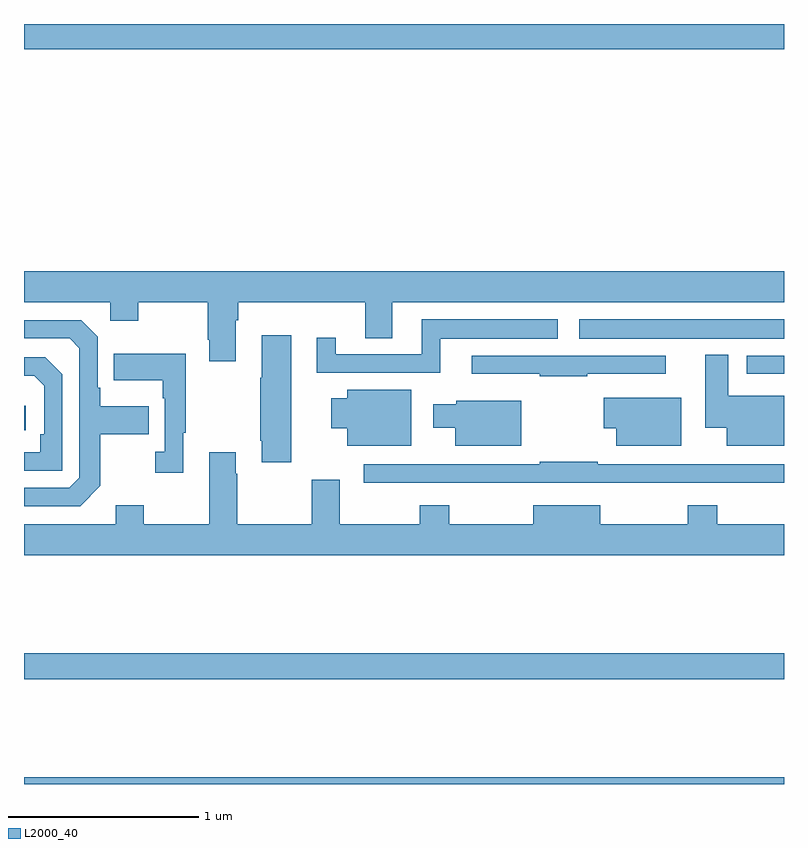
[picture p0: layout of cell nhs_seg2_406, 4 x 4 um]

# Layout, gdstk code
import gdstk
lib = gdstk.Library(unit=1e-6, precision=1e-09)
def R(c, l, rs):  # rectangles x0, y0, x1, y1
    for r in rs: c.add(gdstk.rectangle(r[:2], r[2:], *l))
def P(c, l, *ps):  # polygons
    for p in ps: c.add(gdstk.Polygon(p, *l))
L2000_40 = (2000, 40)

nhs_seg2_406 = lib.new_cell('nhs_seg2_406')
R(nhs_seg2_406, L2000_40, [(131,611.8,135,611.836), (131,612.352,135,612.488), (131,613.662,131.008,613.792), (134.805,613.959,135,614.055), (133.923,614.144,135,614.245), (131,615.668,135,615.8)])
P(nhs_seg2_406, L2000_40, [(132.115,614.24),(132.128,614.24),(132.128,614.336),(132.797,614.336),(132.797,614.146),(132.937,614.146),(132.937,614.336),(135,614.336),(135,614.5),(131,614.5),(131,614.336),(131.454,614.336),(131.454,614.237),(131.601,614.237),(131.601,614.336),(131.968,614.336),(131.968,614.137),(131.975,614.137),(131.975,614.025),(132.115,614.025)],
  [(133.192,614.144),(133.81,614.144),(133.81,614.245),(133.094,614.245),(133.094,614.061),(132.64,614.061),(132.64,614.149),(132.542,614.149),(132.542,613.965),(133.192,613.965)],
  [(131.401,613.369),(131.401,613.642),(131.657,613.642),(131.657,613.789),(131.401,613.789),(131.401,613.885),(131.388,613.885),(131.388,614.154),(131.301,614.241),(131,614.241),(131,614.145),(131.241,614.145),(131.292,614.094),(131.292,613.413),(131.238,613.359),(131,613.359),(131,613.263),(131.295,613.263)],
  [(132.406,614.161),(132.251,614.161),(132.251,613.937),(132.244,613.937),(132.244,613.606),(132.251,613.606),(132.251,613.494),(132.406,613.494)],
  [(131.839,613.649),(131.851,613.649),(131.851,614.065),(131.473,614.065),(131.473,613.925),(131.73,613.925),(131.73,613.829),(131.742,613.829),(131.742,613.55),(131.691,613.55),(131.691,613.437),(131.839,613.437)],
  [(135,613.843),(134.707,613.843),(134.707,614.059),(134.585,614.059),(134.585,613.676),(134.699,613.676),(134.699,613.58),(135,613.58)],
  [(133.964,613.959),(134.377,613.959),(134.377,614.055),(133.356,614.055),(133.356,613.958),(133.714,613.958),(133.714,613.947),(133.964,613.947)],
  [(131.202,613.956),(131.112,614.046),(131,614.046),(131,613.949),(131.053,613.949),(131.106,613.896),(131.106,613.642),(131.086,613.642),(131.086,613.545),(131,613.545),(131,613.449),(131.202,613.449)],
  [(133.039,613.876),(132.701,613.876),(132.701,613.831),(132.617,613.831),(132.617,613.673),(132.701,613.673),(132.701,613.58),(133.039,613.58)],
  [(134.458,613.834),(134.052,613.834),(134.052,613.673),(134.117,613.673),(134.117,613.58),(134.458,613.58)],
  [(133.618,613.816),(133.275,613.816),(133.275,613.798),(133.154,613.798),(133.154,613.676),(133.271,613.676),(133.271,613.58),(133.618,613.58)],
  [(135,613.168),(134.649,613.168),(134.649,613.267),(134.494,613.267),(134.494,613.168),(134.032,613.168),(134.032,613.267),(133.679,613.267),(133.679,613.168),(133.239,613.168),(133.239,613.267),(133.084,613.267),(133.084,613.168),(132.661,613.168),(132.661,613.402),(132.514,613.402),(132.514,613.168),(132.123,613.168),(132.123,613.433),(132.115,613.433),(132.115,613.546),(131.975,613.546),(131.975,613.168),(131.631,613.168),(131.631,613.267),(131.483,613.267),(131.483,613.168),(131,613.168),(131,613.004),(135,613.004)],
  [(133.583,613.386),(134.128,613.386),(134.128,613.385),(134.405,613.385),(134.405,613.386),(134.737,613.386),(134.737,613.385),(134.993,613.385),(134.993,613.386),(135,613.386),(135,613.482),(134.021,613.482),(134.021,613.495),(133.714,613.495),(133.714,613.482),(132.789,613.482),(132.789,613.386),(133.327,613.386),(133.327,613.385),(133.583,613.385)])

lib.write_gds('nhs_seg2_406.gds')
